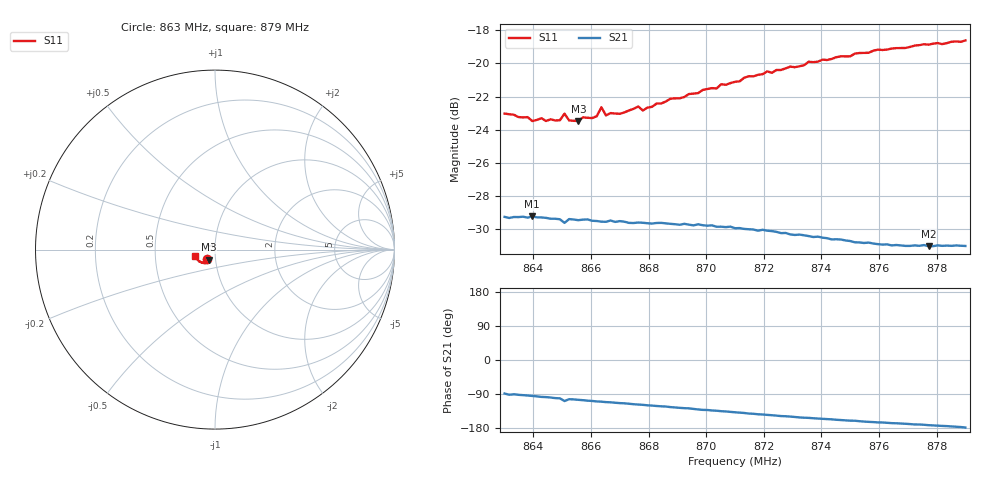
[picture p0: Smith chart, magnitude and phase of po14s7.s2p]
# HZ S RI R 50
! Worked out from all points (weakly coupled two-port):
!   101 points, 863 MHz to 879 MHz, reference 50 ohm
!   highest |S21| = -29.25 dB at 863.96 MHz (marker M1); lowest = -31.1 dB at 877.72 MHz (marker M2)
!   lowest |S11| = -23.5 dB at 865.56 MHz (marker M3), VSWR 1.14, Z = 46.2 - j5.25 ohm
!   |S11| at or under -10 dB: start of sweep to end of sweep
!   S12 and S22 are empty: the file has one direction only
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8.63e8  -0.0463 -0.0532  0.000929 -0.0343  0 0  0 0
8.638e8  -0.0411 -0.0552  -0.00222 -0.0341  0 0  0 0
8.6396e8  -0.0393 -0.0542  -0.00292 -0.0344  0 0  0 0
8.6428e8  -0.0384 -0.0565  -0.00442 -0.0339  0 0  0 0
8.6492e8  -0.038 -0.0556  -0.00652 -0.0332  0 0  0 0
8.6508e8  -0.0418 -0.0568  -0.0104 -0.0313  0 0  0 0
8.6524e8  -0.0368 -0.0563  -0.00785 -0.0329  0 0  0 0
8.6556e8  -0.0359 -0.0565  -0.00872 -0.0324  0 0  0 0
8.6572e8  -0.0364 -0.0582  -0.00932 -0.0324  0 0  0 0
8.662e8  -0.0364 -0.0589  -0.0111 -0.0315  0 0  0 0
8.6636e8  -0.042 -0.0605  -0.0114 -0.0312  0 0  0 0
8.6652e8  -0.0341 -0.0607  -0.012 -0.031  0 0  0 0
8.6764e8  -0.0369 -0.0643  -0.0153 -0.0293  0 0  0 0
8.678e8  -0.0357 -0.0626  -0.0156 -0.029  0 0  0 0
8.6844e8  -0.0362 -0.0665  -0.0176 -0.0279  0 0  0 0
8.71e8  -0.0487 -0.0733  -0.0236 -0.0213  0 0  0 0
8.7212e8  -0.0578 -0.075  -0.0255 -0.018  0 0  0 0
8.7228e8  -0.0573 -0.0741  -0.0257 -0.0175  0 0  0 0
8.7372e8  -0.0684 -0.0742  -0.0268 -0.0132  0 0  0 0
8.7644e8  -0.0927 -0.0609  -0.0274 -0.00651  0 0  0 0
8.7772e8  -0.1017 -0.0514  -0.0277 -0.0039  0 0  0 0
8.79e8  -0.111 -0.0381  -0.028 -0.000875  0 0  0 0
